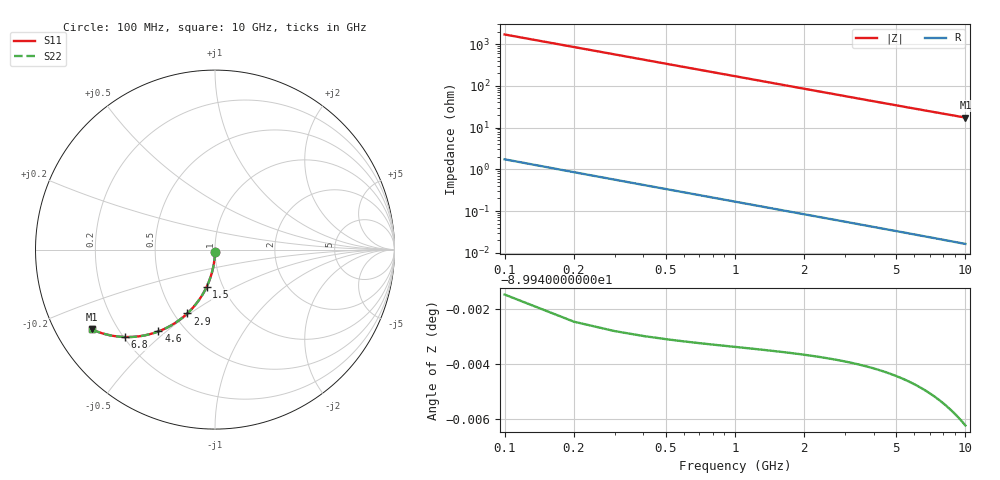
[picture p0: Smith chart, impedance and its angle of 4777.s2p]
# Hz S RI R 50.00
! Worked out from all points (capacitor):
!   100 points, 100 MHz to 10 GHz, reference 50 ohm
!   read as one part in shunt: C = 937 fF near 100 MHz
!   lowest |Z| = 17.4 ohm at 10 GHz (marker M1)
!   S11 on the Smith chart (normalised r, x): 100 MHz: 1.00, -0.03; 1.5 GHz: 0.84, -0.37; 2.9 GHz: 0.58, -0.49; 4.6 GHz: 0.36, -0.47; 6.8 GHz: 0.21, -0.39; 10 GHz: 0.11, -0.29
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1e8  -0.000201 -0.0145  0.9997 -0.0149  0.9997 -0.0149  -0.000201 -0.0145
2e8  -0.000865 -0.0291  0.9991 -0.0298  0.9991 -0.0298  -0.000865 -0.0291
3e8  -0.00196 -0.0435  0.998 -0.0446  0.998 -0.0446  -0.00196 -0.0435
4e8  -0.00348 -0.058  0.9965 -0.0594  0.9965 -0.0594  -0.00348 -0.058
5e8  -0.00543 -0.0723  0.9945 -0.0741  0.9945 -0.0741  -0.00543 -0.0723
6e8  -0.0078 -0.0866  0.9921 -0.0887  0.9921 -0.0887  -0.0078 -0.0866
7e8  -0.0106 -0.1007  0.9894 -0.1032  0.9894 -0.1032  -0.0106 -0.1007
9e8  -0.0173 -0.1286  0.9826 -0.1318  0.9826 -0.1318  -0.0173 -0.1286
1.2e9  -0.0304 -0.1691  0.9695 -0.1734  0.9695 -0.1734  -0.0304 -0.1691
1.5e9  -0.0467 -0.2078  0.9533 -0.2132  0.9533 -0.2132  -0.0467 -0.2078
1.8e9  -0.0658 -0.2443  0.9341 -0.2508  0.9341 -0.2508  -0.0658 -0.2443
2.3e9  -0.1031 -0.2995  0.8968 -0.3078  0.8968 -0.3078  -0.1031 -0.2995
2.9e9  -0.1545 -0.3557  0.8454 -0.3662  0.8454 -0.3662  -0.1545 -0.3557
3.4e9  -0.2007 -0.3939  0.7991 -0.4062  0.7991 -0.4062  -0.2007 -0.3939
4e9  -0.2579 -0.4298  0.7419 -0.4443  0.7419 -0.4443  -0.2579 -0.4298
4.6e9  -0.315 -0.4557  0.6848 -0.4724  0.6848 -0.4724  -0.315 -0.4557
5.1e9  -0.3611 -0.4706  0.6386 -0.4892  0.6386 -0.4892  -0.3611 -0.4706
5.9e9  -0.4308 -0.4839  0.5689 -0.5055  0.5689 -0.5055  -0.4308 -0.4839
6.7e9  -0.4941 -0.4871  0.5055 -0.5118  0.5055 -0.5118  -0.4941 -0.4871
6.8e9  -0.5016 -0.487  0.498 -0.512  0.498 -0.512  -0.5016 -0.487
8.4e9  -0.6061 -0.4724  0.3933 -0.5037  0.3933 -0.5037  -0.6061 -0.4724
1e10  -0.6862 -0.4446  0.313 -0.4821  0.313 -0.4821  -0.6862 -0.4446
